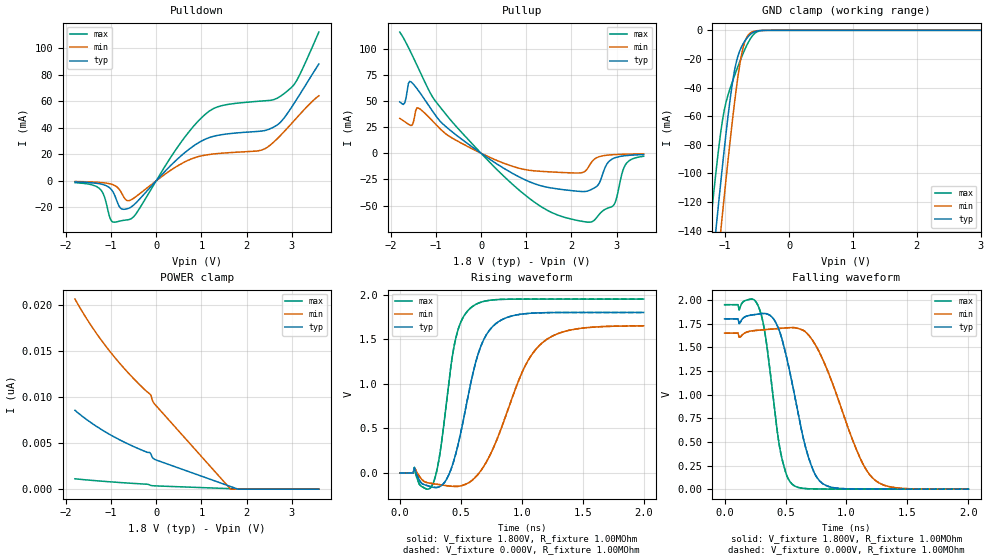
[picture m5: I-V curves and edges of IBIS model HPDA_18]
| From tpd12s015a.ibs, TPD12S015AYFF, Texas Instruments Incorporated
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[Model]   HPDA_18
Model_type   I/O
Vinl = 0.4V
Vinh = 1.0V
Vmeas = 1.500V
Vref = 0V
Cref =15pF
|   typ   min   max
|3-state
C_comp   1.6799pF   1.5123pF   1.9969pF
|pulldown
|C_comp   1.7226pF   1.5177pF   2.1617pF
|pullup
|C_comp   1.7546pF   1.5733pF   2.1821pF
[Voltage Range]   1.800V   1.650V   1.950V
|Junction temperature
[Temperature Range]   40.0   100.0   -40.0
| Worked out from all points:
|   slope of the pulldown table from 0 to 0.27 V, typ, clamps not added: 27.5 ohm
|   slope of the pullup table from 0 to 0.27 V, typ, clamps not added: 33.9 ohm
|   GND clamp passes 1 mA (typ) near -0.54 V on its own axis
|   falling waveform, V_fixture 1.800V, R_fixture 1.00MOhm: 20-80 % time 182ps typ, 288ps min, 118ps max; typ from 1.8 V to 0 V
|   rising waveform, V_fixture 1.800V, R_fixture 1.00MOhm: 20-80 % time 185ps typ, 296ps min, 121ps max; typ from 0 V to 1.8 V
|   rising waveform, V_fixture 0.000V, R_fixture 1.00MOhm: 20-80 % time 185ps typ, 296ps min, 121ps max; typ from 0 V to 1.8 V
|   falling waveform, V_fixture 0.000V, R_fixture 1.00MOhm: 20-80 % time 182ps typ, 288ps min, 118ps max; typ from 1.8 V to 0 V
|ambient temperature   25   85   -40|
[Pulldown]
|   Voltage   I(typ)   I(min)   I(max)
-1.8V     -880.8uA   -561.3uA   -1.419mA
-1.23V    -2.434mA   -1.3mA     -6.798mA
-958.8mV  -8.362mA   -2.998mA   -31.18mA
-796mV    -20.53mA   -7.635mA   -30.38mA
-551.8mV  -19.72mA   -14.3mA    -28.61mA
452.3mV   15.88mA    10.84mA    24.44mA
967.8mV   29.39mA    18.59mA    46.46mA
1.375V    34.4mA     20.61mA    56.02mA
2.325V    37.53mA    23.15mA    60.23mA
2.786V    45.56mA    35.5mA     64.73mA
3.112V    61.63mA    47.64mA    75.85mA
3.6V      88.25mA    64.21mA    112.3mA
[GND Clamp]
|   Voltage   I(typ)   I(min)   I(max)
-1.8V     -449.5mA   -485mA     -405.8mA
-1.23V    -178.5mA   -213.8mA   -136.1mA
-1.149V   -141.5mA   -176.4mA   -101.2mA
-1.122V   -129.4mA   -164.1mA   -90.34mA
-1.067V   -105.7mA   -139.7mA   -70.71mA
-985.9mV  -71.98mA   -104.1mA   -50.23mA
-850.3mV  -27.41mA   -49.61mA   -31.36mA
-768.8mV  -14.08mA   -23.4mA    -21.67mA
-714.6mV  -9.108mA   -11.41mA   -15.72mA
-578.9mV  -1.974mA   -1.135mA   -4.193mA
-361.8mV  -25.41uA   -18.7uA    -25.54uA
3.6V      0A         0A         0A
[Pullup]
|   Voltage   I(typ)   I(min)   I(max)
-1.8V     49.11mA    33.39mA    115.9mA
-1.691V   48.17mA    30.22mA    108.1mA
-1.556V   68.39mA    26.54mA    96.53mA
-1.393V   60.29mA    43.32mA    81.76mA
-633.2mV  20.24mA    14.37mA    29.7mA
642.2mV   -17.9mA    -11.7mA    -27.54mA
1.538V    -33.05mA   -17.82mA   -56.11mA
2.243V    -36.62mA   -18.44mA   -65.11mA
2.487V    -33.6mA    -6.467mA   -64.69mA
2.894V    -5.721mA   -1.449mA   -51.11mA
3.193V    -2.334mA   -883.3uA   -11.27mA
3.6V      -1.254mA   -571.4uA   -2.839mA
[POWER Clamp]
|   Voltage   I(typ)   I(min)   I(max)
-1.8V     8.578nA    20.68nA    1.128nA
-1.502V   7.432nA    18.24nA    989.7pA
-1.149V   6.293nA    15.76nA    846.9pA
-633.2mV  4.938nA    12.72nA    667.7pA
-226.1mV  4.061nA    10.69nA    542.2pA
-144.7mV  3.989nA    10.36nA    459pA
-117.6mV  3.825nA    10.23nA    397.8pA
-90.45mV  3.481nA    9.716nA    378.8pA
-36.18mV  3.243nA    9.248nA    362.2pA
1.646V    285.2pA    0A         54.23pA
1.809V    0A         0A         24.65pA
3.6V      0A         0A         0A
[Ramp]
R_load = 1.00MOhm
|   typ   min   max
dV/dt_r   1.080V/185.077ps 989.924mV/296.188ps   1.170V/121.020ps
dV/dt_f   1.080V/182.444ps 989.934mV/288.281ps   1.170V/117.716ps
[Falling Waveform]
V_fixture = 1.800V
V_fixture_min = 1.650V
V_fixture_max = 1.950V
R_fixture = 1.00MOhm
|   Time   V(typ)   V(min)   V(max)
0s        1.8V       1.65V      1.95V
280ps     1.852V     1.681V     1.924V
340ps     1.856V     1.687V     1.578V
460ps     1.633V     1.7V       387.5mV
560ps     1.086V     1.708V     47.01mV
690ps     329.9mV    1.628V     4.05mV
810ps     54.31mV    1.359V     1.197mV
1.08ns    1.442mV    422.6mV    285.5uV
1.22ns    617.3uV    111.3mV    177uV
2ns       61.91uV    83.49uV    44.64uV
[Rising Waveform]
V_fixture = 1.800V
V_fixture_min = 1.650V
V_fixture_max = 1.950V
R_fixture = 1.00MOhm
|   Time   V(typ)   V(min)   V(max)
0s        61.91uV    83.49uV    44.64uV
120ps     57.7mV     53.92mV    62.93mV
270ps     -158.3mV   -118.6mV   -126.7mV
330ps     -150.2mV   -130.6mV   223.3mV
460ps     218.8mV    -149.5mV   1.514V
600ps     1.116V     -73.07mV   1.871V
780ps     1.666V     320.4mV    1.943V
1.01ns    1.784V     1.151V     1.95V
1.16ns    1.797V     1.449V     1.95V
2ns       1.8V       1.65V      1.95V
[Rising Waveform]
V_fixture = 0.000V
V_fixture_min = 0.000V
V_fixture_max = 0.000V
R_fixture = 1.00MOhm
|   Time   V(typ)   V(min)   V(max)
0s        14.57uV    21.63uV    10.99uV
120ps     57.65mV    53.86mV    62.9mV
270ps     -158.5mV   -118.7mV   -126.8mV
330ps     -150.4mV   -130.8mV   223.1mV
460ps     218.5mV    -149.8mV   1.514V
600ps     1.116V     -73.46mV   1.871V
780ps     1.666V     320mV      1.943V
1.01ns    1.784V     1.15V      1.95V
1.16ns    1.797V     1.449V     1.95V
2ns       1.8V       1.65V      1.95V
[Falling Waveform]
V_fixture = 0.000V
V_fixture_min = 0.000V
V_fixture_max = 0.000V
R_fixture = 1.00MOhm
|   Time   V(typ)   V(min)   V(max)
0s        1.8V       1.65V      1.95V
280ps     1.852V     1.681V     1.924V
340ps     1.855V     1.687V     1.577V
460ps     1.633V     1.7V       387.4mV
560ps     1.086V     1.708V     46.96mV
690ps     329.8mV    1.628V     4.015mV
810ps     54.24mV    1.358V     1.163mV
1.08ns    1.394mV    422.4mV    251.8uV
1.22ns    569.4uV    111.2mV    143.3uV
2ns       14.57uV    21.63uV    10.99uV
